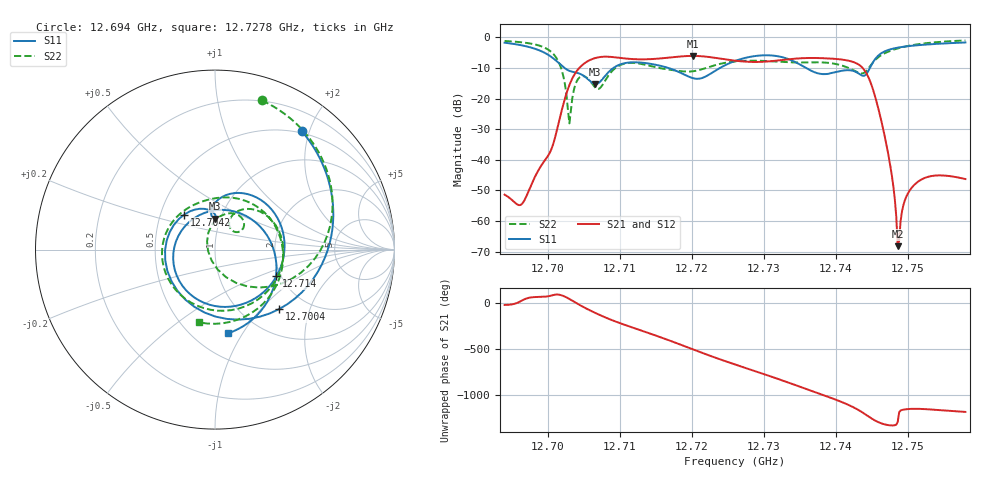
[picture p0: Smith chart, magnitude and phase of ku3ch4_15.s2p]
#  HZ  S  RI  R  50.00
! Rohde & Schwarz ZVA50 2Ports - Version 3.70 - 1145.1110k50 SN: 100192
! Date: 2025-10-24 10:55:29
! Measurements: S11 S21 S12 S22
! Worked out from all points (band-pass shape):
!   321 points, 12.694 GHz to 12.758 GHz, reference 50 ohm
!   highest |S21| = -6.07 dB at 12.7202 GHz (marker M1); lowest = -68.3 dB at 12.7486 GHz (marker M2)
!   |S21| within 3 dB of the highest: 12.70478 GHz to 12.74328 GHz (38.5 MHz wide, 0.303 % of centre)
!   lowest |S11| = -15.3 dB at 12.7066 GHz (marker M3), VSWR 1.41, Z = 46.9 + j16.6 ohm
!   |S11| at or under -10 dB: 12.70231 GHz to 12.70912 GHz (6.805 MHz wide, 0.0536 % of centre); 12.71672 GHz to 12.72392 GHz (7.2 MHz wide, 0.0566 % of centre); 12.73586 GHz to 12.74474 GHz (8.882 MHz wide, 0.0697 % of centre)
!   |S22| runs from -28.1 to -1.0 dB; largest |S21 - S12| = 0.0088
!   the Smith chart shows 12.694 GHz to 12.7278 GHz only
!   S11 on the Smith chart (normalised r, x): 12.694 GHz: 0.47, +1.88; 12.7004 GHz: 1.46, -1.27; 12.7042 GHz: 0.66, +0.28; 12.714 GHz: 1.89, -0.65; 12.7278 GHz: 0.72, -0.86
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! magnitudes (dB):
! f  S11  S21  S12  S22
! 12.694 GHz  -1.7  -51.4  -51.3  -1.2
! 12.6964 GHz  -2.6  -54.5  -54.3  -1.6
! 12.7004 GHz  -6.2  -37.1  -37.0  -4.6
! 12.702 GHz  -9.4  -23.2  -23.1  -11.3
! 12.703 GHz  -10.9  -15.6  -15.5  -28.1
! 12.7042 GHz  -11.7  -10.5  -10.4  -13.6
! 12.7048 GHz  -12.3  -9.0  -8.9  -12.7
! 12.7066 GHz  -15.3  -6.8  -6.7  -16.4
! 12.7102 GHz  -8.7  -6.8  -6.7  -8.9
! 12.714 GHz  -8.6  -7.2  -7.1  -9.2
! 12.7154 GHz  -9.2  -7.0  -6.9  -10.0
! 12.7202 GHz  -13.4  -6.1  -6.0  -11.1
! 12.726 GHz  -7.7  -7.6  -7.5  -7.9
! 12.7278 GHz  -6.5  -8.0  -7.9  -7.6
! 12.7368 GHz  -11.2  -6.7  -6.6  -8.2
! 12.744 GHz  -12.5  -10.8  -10.7  -11.5
! 12.7474 GHz  -4.0  -39.6  -39.5  -4.6
! 12.7482 GHz  -3.6  -53.0  -52.9  -3.9
! 12.7486 GHz  -3.4  -68.3  -68.1  -3.6
! 12.7494 GHz  -3.1  -54.7  -54.6  -3.1
! 12.751 GHz  -2.7  -48.0  -47.9  -2.4
! 12.758 GHz  -1.7  -46.3  -46.2  -1.0
